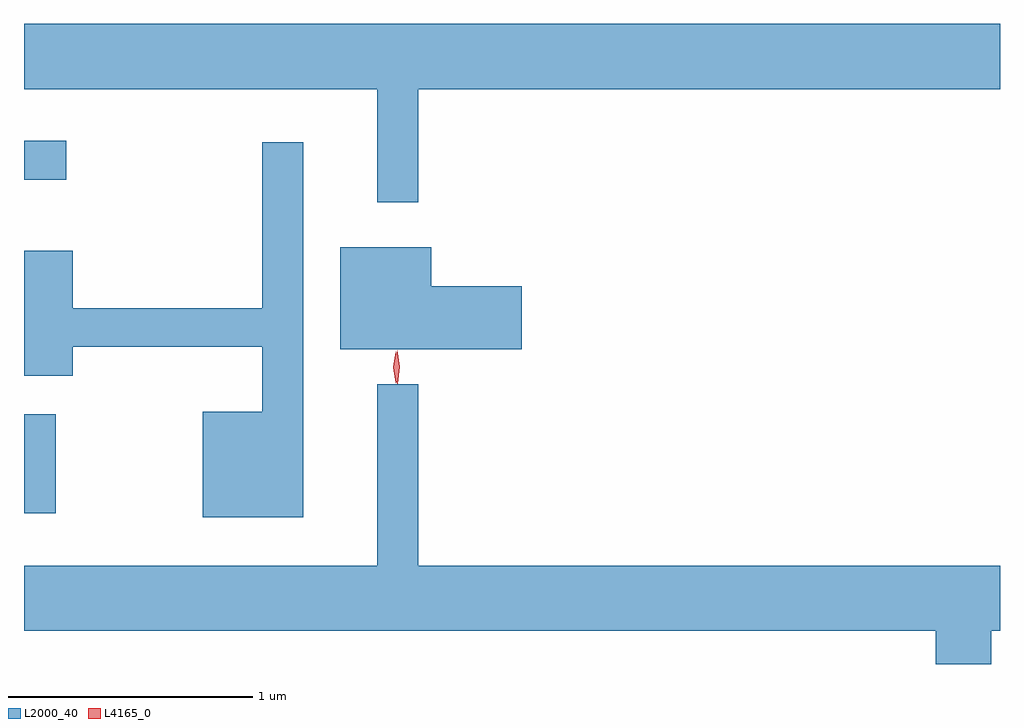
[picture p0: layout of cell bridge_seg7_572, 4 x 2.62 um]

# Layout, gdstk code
import gdstk
lib = gdstk.Library(unit=1e-6, precision=1e-09)
def R(c, l, rs):  # rectangles x0, y0, x1, y1
    for r in rs: c.add(gdstk.rectangle(r[:2], r[2:], *l))
def P(c, l, *ps):  # polygons
    for p in ps: c.add(gdstk.Polygon(p, *l))
L2000_40 = (2000, 40)
L4165_0 = (4165, 0)

bridge_seg7_572 = lib.new_cell('bridge_seg7_572')
R(bridge_seg7_572, L2000_40, [(703.704,1745.878,703.834,1746.284), (703.704,1747.246,703.878,1747.404)])
P(bridge_seg7_572, L2000_40, [(705.319,1747.616),(707.704,1747.616),(707.704,1747.884),(703.704,1747.884),(703.704,1747.616),(705.151,1747.616),(705.151,1747.153),(705.319,1747.153)],
  [(704.849,1747.398),(704.681,1747.398),(704.681,1746.719),(703.904,1746.719),(703.904,1746.954),(703.704,1746.954),(703.704,1746.441),(703.904,1746.441),(703.904,1746.561),(704.681,1746.561),(704.681,1746.294),(704.436,1746.294),(704.436,1745.861),(704.849,1745.861)],
  [(705.744,1746.809),(705.374,1746.809),(705.374,1746.969),(705.001,1746.969),(705.001,1746.551),(705.744,1746.551)],
  [(707.669,1745.396),(707.704,1745.396),(707.704,1745.664),(705.319,1745.664),(705.319,1746.408),(705.151,1746.408),(705.151,1745.664),(703.704,1745.664),(703.704,1745.396),(707.441,1745.396),(707.441,1745.26),(707.669,1745.26)])
P(bridge_seg7_572, L4165_0, [(705.234,1746.41),(705.224,1746.478),(705.233,1746.546),(705.234,1746.546),(705.234,1746.546),(705.244,1746.478),(705.235,1746.41),(705.235,1746.41)],
  [(705.228,1746.413),(705.228,1746.413),(705.218,1746.476),(705.227,1746.54),(705.228,1746.54),(705.228,1746.54),(705.238,1746.476),(705.229,1746.413)])

lib.write_gds('bridge_seg7_572.gds')
